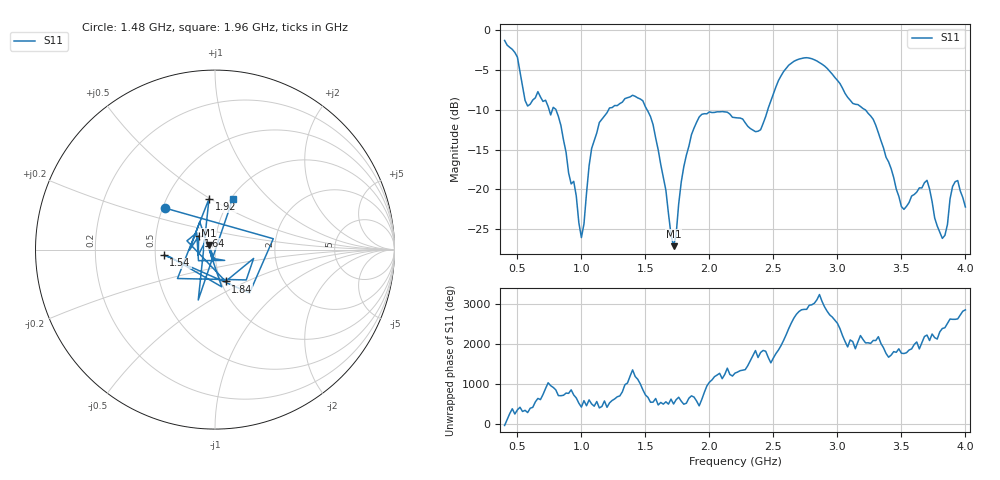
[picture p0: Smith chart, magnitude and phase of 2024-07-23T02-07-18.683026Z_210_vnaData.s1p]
!Created with skrf (http://scikit-rf.org).
# Hz S RI R 50.0
!freq ReS11 ImS11
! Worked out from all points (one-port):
!   181 points, 400 MHz to 4 GHz, reference 50 ohm
!   lowest |S11| = -27.2 dB at 1.72 GHz (marker M1), VSWR 1.09, Z = 46.6 + j2.46 ohm
!   |S11| at or under -10 dB: 801.3 MHz to 1.212 GHz (410.9 MHz wide, 40.8 % of centre); 1.513 GHz to 2.456 GHz (942.7 MHz wide, 47.5 % of centre); 3.218 GHz to end of sweep (the widest 3 of 4)
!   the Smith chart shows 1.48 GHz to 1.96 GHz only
!   S11 on the Smith chart (normalised r, x): 1.48 GHz: 0.52, +0.27; 1.54 GHz: 0.56, -0.04; 1.64 GHz: 0.83, +0.13; 1.84 GHz: 1.05, -0.39; 1.92 GHz: 0.80, +0.49; 1.96 GHz: 1.02, +0.63
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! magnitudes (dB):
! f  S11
! 400 MHz  -1.3
! 500 MHz  -3.4
! 580 MHz  -9.5
! 660 MHz  -7.7
! 860 MHz  -13.8
! 1 GHz  -26.1
! 1.08 GHz  -14.9
! 1.3 GHz  -9.2
! 1.48 GHz  -8.9
! 1.54 GHz  -10.9
! 1.64 GHz  -18.5
! 1.72 GHz  -27.2
! 1.76 GHz  -21.9
! 1.84 GHz  -14.6
! 1.92 GHz  -10.9
! 1.96 GHz  -10.5
! 2.2 GHz  -11.0
! 2.4 GHz  -12.5
! 2.66 GHz  -3.9
! 2.88 GHz  -4.3
! 3.1 GHz  -8.8
! 3.28 GHz  -11.2
! 3.5 GHz  -22.2
! 3.56 GHz  -21.7
! 3.7 GHz  -18.9
! 3.82 GHz  -26.2
! 3.92 GHz  -19.1
! 4 GHz  -22.2
